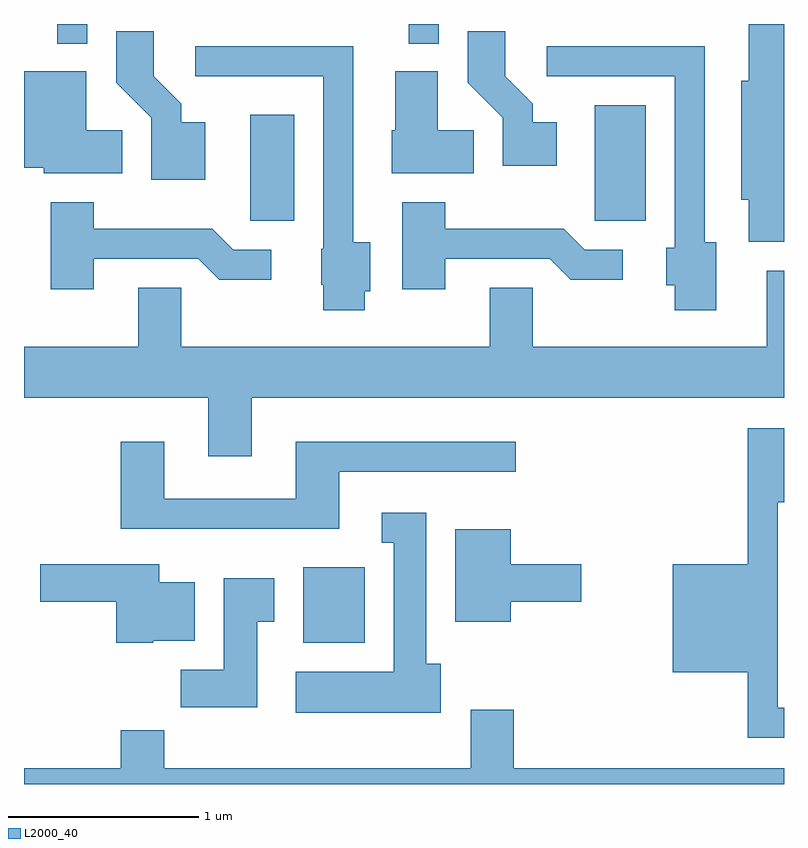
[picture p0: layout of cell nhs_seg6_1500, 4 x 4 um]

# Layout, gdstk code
import gdstk
lib = gdstk.Library(unit=1e-6, precision=1e-09)
def R(c, l, rs):  # rectangles x0, y0, x1, y1
    for r in rs: c.add(gdstk.rectangle(r[:2], r[2:], *l))
def P(c, l, *ps):  # polygons
    for p in ps: c.add(gdstk.Polygon(p, *l))
L2000_40 = (2000, 40)

nhs_seg6_1500 = lib.new_cell('nhs_seg6_1500')
R(nhs_seg6_1500, L2000_40, [(231.081,1610.906,231.404,1611.304), (230.801,1613.126,231.034,1613.684), (232.616,1613.126,232.884,1613.734), (229.786,1614.058,229.944,1614.162), (231.636,1614.058,231.794,1614.162)])
P(nhs_seg6_1500, L2000_40, [(233.611,1614.162),(233.426,1614.162),(233.426,1613.864),(233.386,1613.864),(233.386,1613.236),(233.426,1613.236),(233.426,1613.016),(233.611,1613.016)],
  [(230.564,1613.644),(230.439,1613.644),(230.439,1613.742),(230.294,1613.887),(230.294,1614.124),(230.096,1614.124),(230.096,1613.854),(230.281,1613.669),(230.281,1613.341),(230.564,1613.341)],
  [(232.414,1613.644),(232.289,1613.644),(232.289,1613.742),(232.144,1613.887),(232.144,1614.124),(231.946,1614.124),(231.946,1613.854),(232.131,1613.669),(232.131,1613.416),(232.414,1613.416)],
  [(233.254,1613.014),(233.194,1613.014),(233.194,1614.044),(232.363,1614.044),(232.363,1613.886),(233.036,1613.886),(233.036,1612.984),(232.991,1612.984),(232.991,1612.786),(233.036,1612.786),(233.036,1612.656),(233.254,1612.656)],
  [(231.404,1612.756),(231.434,1612.756),(231.434,1613.014),(231.344,1613.014),(231.344,1614.044),(230.513,1614.044),(230.513,1613.886),(231.186,1613.886),(231.186,1612.98),(231.176,1612.98),(231.176,1612.79),(231.186,1612.79),(231.186,1612.656),(231.404,1612.656)],
  [(230.129,1613.604),(229.939,1613.604),(229.939,1613.914),(229.611,1613.914),(229.611,1613.406),(229.716,1613.406),(229.716,1613.376),(230.129,1613.376)],
  [(231.979,1613.604),(231.789,1613.604),(231.789,1613.914),(231.566,1613.914),(231.566,1613.604),(231.546,1613.604),(231.546,1613.376),(231.979,1613.376)],
  [(229.979,1612.926),(230.529,1612.926),(230.639,1612.816),(230.913,1612.816),(230.913,1612.974),(230.712,1612.974),(230.602,1613.084),(229.979,1613.084),(229.979,1613.224),(229.751,1613.224),(229.751,1612.766),(229.979,1612.766)],
  [(231.829,1612.926),(232.379,1612.926),(232.489,1612.816),(232.763,1612.816),(232.763,1612.974),(232.562,1612.974),(232.452,1613.084),(231.829,1613.084),(231.829,1613.224),(231.601,1613.224),(231.601,1612.766),(231.829,1612.766)],
  [(230.809,1612.196),(233.611,1612.196),(233.611,1612.864),(233.521,1612.864),(233.521,1612.464),(232.289,1612.464),(232.289,1612.774),(232.061,1612.774),(232.061,1612.464),(230.439,1612.464),(230.439,1612.774),(230.211,1612.774),(230.211,1612.464),(229.611,1612.464),(229.611,1612.196),(230.581,1612.196),(230.581,1611.886),(230.809,1611.886)],
  [(233.611,1610.564),(233.579,1610.564),(233.579,1611.646),(233.611,1611.646),(233.611,1612.034),(233.421,1612.034),(233.421,1611.319),(233.026,1611.319),(233.026,1610.751),(233.421,1610.751),(233.421,1610.406),(233.611,1610.406)],
  [(231.269,1611.806),(232.198,1611.806),(232.198,1611.964),(231.041,1611.964),(231.041,1611.664),(230.349,1611.664),(230.349,1611.964),(230.121,1611.964),(230.121,1611.506),(231.269,1611.506)],
  [(231.804,1610.794),(231.729,1610.794),(231.729,1611.589),(231.493,1611.589),(231.493,1611.431),(231.556,1611.431),(231.556,1610.754),(231.041,1610.754),(231.041,1610.536),(231.804,1610.536)],
  [(232.174,1611.121),(232.544,1611.121),(232.544,1611.319),(232.174,1611.319),(232.174,1611.504),(231.881,1611.504),(231.881,1611.016),(232.174,1611.016)],
  [(230.29,1610.916),(230.509,1610.916),(230.509,1611.224),(230.324,1611.224),(230.324,1611.319),(229.696,1611.319),(229.696,1611.121),(230.096,1611.121),(230.096,1610.906),(230.29,1610.906)],
  [(230.839,1611.016),(230.929,1611.016),(230.929,1611.244),(230.661,1611.244),(230.661,1610.764),(230.436,1610.764),(230.436,1610.566),(230.839,1610.566)],
  [(233.611,1610.244),(232.189,1610.244),(232.189,1610.554),(231.961,1610.554),(231.961,1610.244),(230.349,1610.244),(230.349,1610.444),(230.121,1610.444),(230.121,1610.244),(229.611,1610.244),(229.611,1610.162),(233.611,1610.162)])

lib.write_gds('nhs_seg6_1500.gds')
